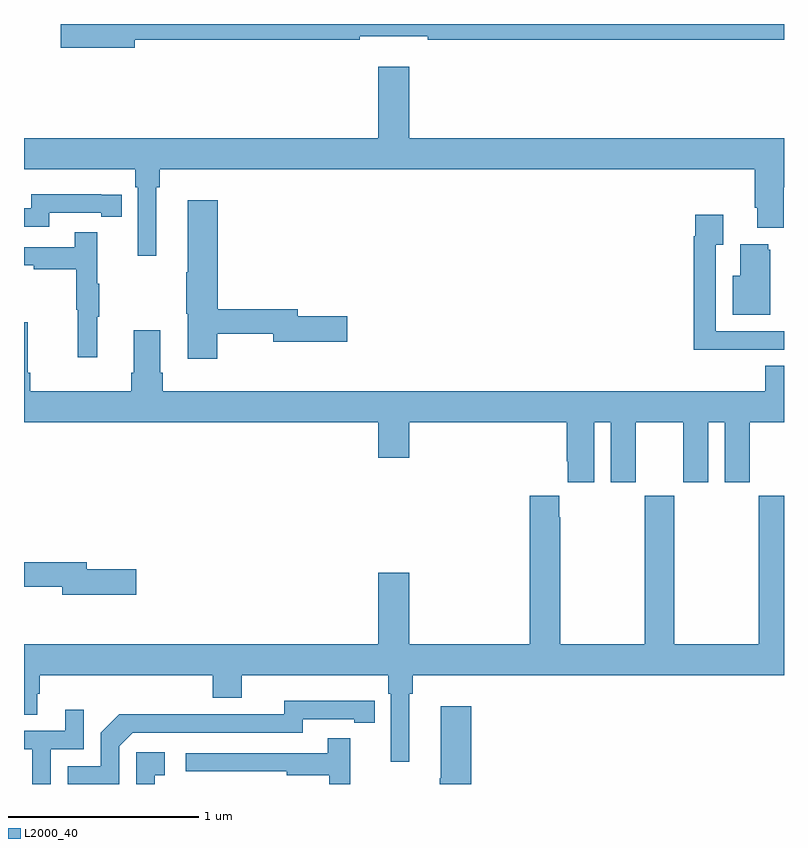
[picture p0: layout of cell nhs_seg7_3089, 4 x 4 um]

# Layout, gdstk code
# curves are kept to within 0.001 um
import gdstk
lib = gdstk.Library(unit=1e-6, precision=1e-09)
def P(c, l, *ps):  # polygons
    for p in ps: c.add(gdstk.Polygon(p, *l))
L2000_40 = (2000, 40)

nhs_seg7_3089 = lib.new_cell('nhs_seg7_3089')
P(nhs_seg7_3089, L2000_40, [(307.582,1047.916),(308.768,1047.916),(308.768,1047.935),(309.124,1047.935),(309.124,1047.916),(311,1047.916),(311,1048),(307.194,1048),(307.194,1047.874),(307.582,1047.874)],
  [(307.696,1047.14),(307.715,1047.14),(307.715,1047.236),(310.847,1047.236),(310.847,1047.034),(310.859,1047.034),(310.859,1046.927),(310.999,1046.927),(310.999,1047.14),(311,1047.14),(311,1047.4),(309.028,1047.4),(309.028,1047.775),(308.864,1047.775),(308.864,1047.4),(307,1047.4),(307,1047.236),(307.586,1047.236),(307.586,1047.14),(307.599,1047.14),(307.599,1046.781),(307.696,1046.781)],
  [(307.134,1047.006),(307.406,1047.006),(307.406,1046.986),(307.514,1046.986),(307.514,1047.102),(307.406,1047.102),(307.406,1047.103),(307.038,1047.103),(307.038,1047.03),(307,1047.03),(307,1046.934),(307.134,1046.934)],
  [(308.016,1046.37),(308.312,1046.37),(308.312,1046.327),(308.701,1046.327),(308.701,1046.462),(308.44,1046.462),(308.44,1046.498),(308.021,1046.498),(308.021,1047.073),(307.862,1047.073),(307.862,1046.693),(307.855,1046.693),(307.855,1046.475),(307.862,1046.475),(307.862,1046.238),(308.016,1046.238)],
  [(310.817,1046.286),(311,1046.286),(311,1046.382),(310.641,1046.382),(310.641,1046.839),(310.681,1046.839),(310.681,1046.995),(310.533,1046.995),(310.533,1046.882),(310.525,1046.882),(310.525,1046.285),(310.817,1046.285)],
  [(307.385,1046.459),(307.396,1046.459),(307.396,1046.633),(307.385,1046.633),(307.385,1046.905),(307.267,1046.905),(307.267,1046.826),(307,1046.826),(307,1046.73),(307.051,1046.73),(307.051,1046.71),(307.275,1046.71),(307.275,1046.496),(307.282,1046.496),(307.282,1046.247),(307.385,1046.247)],
  [(310.927,1046.811),(310.916,1046.811),(310.916,1046.842),(310.769,1046.842),(310.769,1046.674),(310.73,1046.674),(310.73,1046.471),(310.927,1046.471)],
  [(310,1045.904),(310.088,1045.904),(310.088,1045.587),(310.219,1045.587),(310.219,1045.904),(310.469,1045.904),(310.469,1045.587),(310.6,1045.587),(310.6,1045.904),(310.688,1045.904),(310.688,1045.587),(310.819,1045.587),(310.819,1045.904),(311,1045.904),(311,1046.201),(310.901,1046.201),(310.901,1046.068),(307.73,1046.068),(307.73,1046.164),(307.717,1046.164),(307.717,1046.389),(307.577,1046.389),(307.577,1046.164),(307.565,1046.164),(307.565,1046.068),(307.034,1046.068),(307.034,1046.164),(307.021,1046.164),(307.021,1046.43),(307,1046.43),(307,1045.904),(308.864,1045.904),(308.864,1045.716),(309.028,1045.716),(309.028,1045.904),(309.857,1045.904),(309.857,1045.699),(309.863,1045.699),(309.863,1045.587),(310,1045.587)],
  [(309.028,1044.476),(309.047,1044.476),(309.047,1044.572),(311,1044.572),(311,1045.516),(310.867,1045.516),(310.867,1044.736),(310.422,1044.736),(310.422,1045.516),(310.267,1045.516),(310.267,1044.736),(309.822,1044.736),(309.822,1045.403),(309.817,1045.403),(309.817,1045.516),(309.662,1045.516),(309.662,1044.736),(309.028,1044.736),(309.028,1045.111),(308.864,1045.111),(308.864,1044.736),(307,1044.736),(307,1044.364),(307.069,1044.364),(307.069,1044.474),(307.082,1044.474),(307.082,1044.572),(307.994,1044.572),(307.994,1044.455),(308.146,1044.455),(308.146,1044.572),(308.918,1044.572),(308.918,1044.476),(308.931,1044.476),(308.931,1044.117),(309.028,1044.117)],
  [(307.591,1045.13),(307.33,1045.13),(307.33,1045.166),(307,1045.166),(307,1045.038),(307.202,1045.038),(307.202,1044.995),(307.591,1044.995)],
  [(307.5,1044.198),(307.572,1044.27),(308.466,1044.27),(308.466,1044.342),(308.738,1044.342),(308.738,1044.322),(308.846,1044.322),(308.846,1044.438),(308.37,1044.439),(308.37,1044.366),(307.91,1044.366),(307.91,1044.368),(307.502,1044.368),(307.404,1044.27),(307.404,1044.093),(307.23,1044.093),(307.23,1044),(307.5,1044)],
  [(309.353,1044.409),(309.194,1044.409),(309.194,1044.029),(309.187,1044.029),(309.187,1044),(309.353,1044)],
  [(307.14,1044.183),(307.314,1044.183),(307.314,1044.391),(307.217,1044.391),(307.217,1044.279),(307,1044.279),(307,1044.183),(307.044,1044.183),(307.044,1044),(307.14,1044)],
  [(308.717,1044.241),(308.599,1044.241),(308.599,1044.162),(307.851,1044.162),(307.851,1044.066),(308.383,1044.066),(308.383,1044.046),(308.607,1044.046),(308.607,1044),(308.717,1044)],
  [(307.688,1044.045),(307.741,1044.045),(307.741,1044.166),(307.59,1044.166),(307.59,1044),(307.688,1044)])

lib.write_gds('nhs_seg7_3089.gds')
